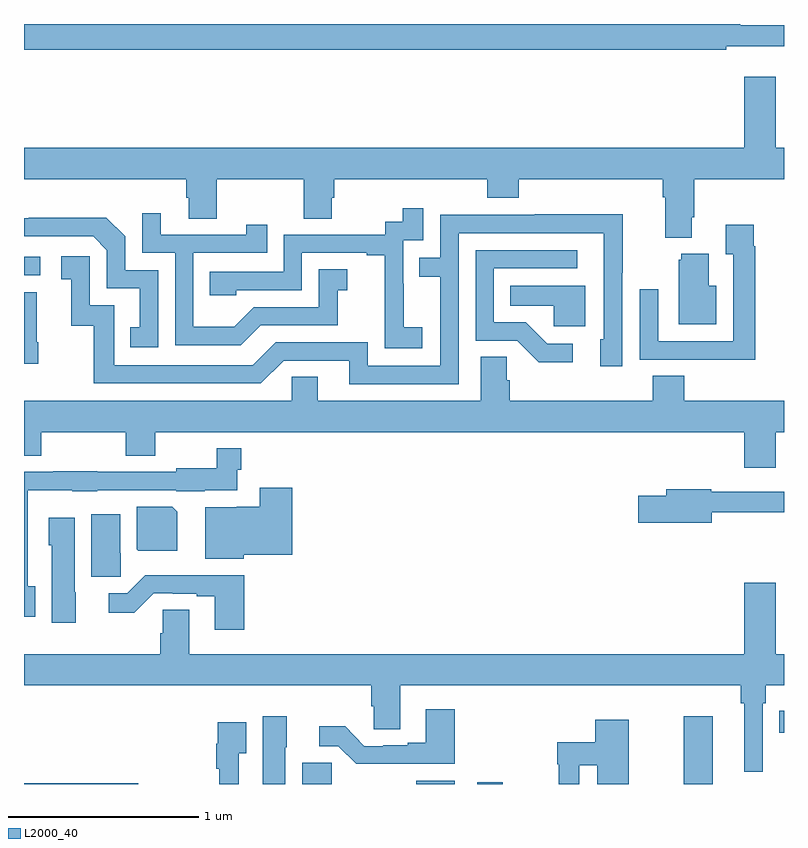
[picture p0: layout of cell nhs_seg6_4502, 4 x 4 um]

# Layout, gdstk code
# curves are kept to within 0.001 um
import gdstk
lib = gdstk.Library(unit=1e-6, precision=1e-09)
def R(c, l, rs):  # rectangles x0, y0, x1, y1
    for r in rs: c.add(gdstk.rectangle(r[:2], r[2:], *l))
def P(c, l, *ps):  # polygons
    for p in ps: c.add(gdstk.Polygon(p, *l))
L2000_40 = (2000, 40)

nhs_seg6_4502 = lib.new_cell('nhs_seg6_4502')
R(nhs_seg6_4502, L2000_40, [(377,929.5,377.6,929.504), (378.464,929.5,378.62,929.613), (379.064,929.5,379.266,929.518), (379.386,929.5,379.519,929.51), (380.473,929.5,380.626,929.857), (380.974,929.77,381,929.886), (377,932.178,377.086,932.274)])
P(nhs_seg6_4502, L2000_40, [(380.696,933.383),(381,933.383),(381,933.493),(380.77,933.493),(380.77,933.5),(377,933.5),(377,933.364),(380.696,933.364)],
  [(380.515,932.482),(380.528,932.482),(380.528,932.684),(381,932.684),(381,932.848),(380.956,932.848),(380.956,933.223),(380.792,933.223),(380.792,932.848),(377,932.848),(377,932.684),(377.855,932.684),(377.855,932.586),(377.867,932.586),(377.867,932.476),(378.015,932.476),(378.015,932.684),(378.472,932.684),(378.472,932.476),(378.619,932.476),(378.619,932.586),(378.632,932.586),(378.632,932.684),(379.439,932.684),(379.439,932.585),(379.604,932.585),(379.604,932.684),(380.363,932.684),(380.363,932.588),(380.375,932.588),(380.375,932.375),(380.515,932.375)],
  [(379.096,931.903),(378.998,931.903),(378.998,932.132),(378.996,932.132),(378.996,932.361),(379.101,932.361),(379.101,932.53),(378.993,932.53),(378.993,932.46),(378.9,932.46),(378.9,932.391),(378.366,932.391),(378.366,932.196),(377.977,932.196),(377.977,932.073),(378.117,932.073),(378.117,932.1),(378.462,932.1),(378.462,932.295),(378.803,932.295),(378.803,932.283),(378.899,932.283),(378.899,931.999),(378.898,931.999),(378.898,931.793),(379.096,931.793)],
  [(378.247,931.914),(378.651,931.914),(378.651,932.099),(378.7,932.099),(378.7,932.209),(378.552,932.209),(378.552,932.01),(378.21,932.01),(378.106,931.906),(377.892,931.906),(377.892,932.295),(378.281,932.295),(378.281,932.443),(378.17,932.443),(378.17,932.391),(377.719,932.391),(377.719,932.503),(377.622,932.503),(377.622,932.295),(377.796,932.295),(377.796,931.809),(378.142,931.809)],
  [(379.287,932.4),(380.051,932.4),(380.052,931.842),(380.033,931.842),(380.033,931.698),(380.148,931.698),(380.148,932.191),(380.151,932.191),(380.151,932.498),(379.687,932.498),(379.687,932.496),(379.191,932.496),(379.191,932.271),(379.081,932.271),(379.081,932.17),(379.191,932.17),(379.191,931.701),(378.81,931.701),(378.81,931.824),(378.324,931.824),(378.204,931.704),(377.475,931.704),(377.475,932.019),(377.346,932.019),(377.346,932.278),(377.196,932.278),(377.196,932.157),(377.249,932.157),(377.249,931.911),(377.367,931.911),(377.367,931.608),(378.246,931.608),(378.366,931.728),(378.713,931.728),(378.713,931.605),(379.287,931.605)],
  [(377.706,932.205),(377.532,932.205),(377.532,932.382),(377.434,932.48),(377.026,932.48),(377.026,932.478),(377,932.478),(377,932.382),(377.364,932.382),(377.436,932.31),(377.436,932.109),(377.609,932.109),(377.609,931.905),(377.56,931.905),(377.56,931.8),(377.706,931.8)],
  [(380.849,932.33),(380.842,932.33),(380.842,932.443),(380.693,932.443),(380.693,932.287),(380.733,932.287),(380.733,931.83),(380.337,931.83),(380.337,932.104),(380.241,932.104),(380.241,931.734),(380.557,931.734),(380.557,931.733),(380.849,931.733)],
  [(379.888,931.818),(379.753,931.818),(379.642,931.929),(379.473,931.929),(379.473,932.214),(379.912,932.214),(379.912,932.31),(379.377,932.31),(379.377,931.833),(379.596,931.833),(379.709,931.721),(379.888,931.721)],
  [(380.644,932.122),(380.605,932.122),(380.605,932.29),(380.459,932.29),(380.459,932.259),(380.447,932.259),(380.447,931.919),(380.644,931.919)],
  [(379.954,932.122),(379.558,932.122),(379.558,932.018),(379.789,932.018),(379.789,931.91),(379.954,931.91)],
  [(377.076,931.825),(377.068,931.825),(377.068,932.089),(377,932.089),(377,931.713),(377.076,931.713)],
  [(380.956,931.352),(381,931.352),(381,931.516),(380.474,931.516),(380.474,931.649),(380.309,931.649),(380.309,931.516),(379.556,931.516),(379.556,931.625),(379.542,931.625),(379.542,931.748),(379.403,931.748),(379.403,931.516),(378.547,931.516),(378.547,931.643),(378.408,931.643),(378.408,931.516),(377,931.516),(377,931.228),(377.091,931.228),(377.091,931.352),(377.536,931.352),(377.536,931.228),(377.691,931.228),(377.691,931.352),(380.792,931.352),(380.792,931.164),(380.956,931.164)],
  [(377.059,930.542),(377.019,930.542),(377.019,931.046),(377.253,931.046),(377.253,931.04),(377.385,931.04),(377.385,931.047),(377.802,931.047),(377.802,931.04),(377.952,931.04),(377.952,931.046),(378.123,931.046),(378.123,931.154),(378.143,931.154),(378.143,931.267),(378.015,931.267),(378.015,931.162),(377.802,931.162),(377.802,931.143),(377.385,931.143),(377.385,931.145),(377.153,931.145),(377.153,931.143),(377,931.143),(377,930.381),(377.059,930.381)],
  [(378.156,930.707),(378.413,930.707),(378.413,931.06),(378.242,931.06),(378.242,930.958),(378.12,930.958),(378.12,930.956),(377.954,930.956),(377.954,930.686),(378.156,930.686)],
  [(380.62,930.93),(381,930.93),(381,931.038),(380.616,931.038),(380.616,931.051),(380.381,931.051),(380.381,931.017),(380.232,931.017),(380.232,930.875),(380.62,930.875)],
  [(377.806,930.932),(377.78,930.958),(377.594,930.958),(377.594,930.736),(377.602,930.728),(377.806,930.728)],
  [(377.51,930.714),(377.506,930.714),(377.506,930.919),(377.354,930.919),(377.354,930.591),(377.51,930.591)],
  [(377.272,930.51),(377.266,930.51),(377.266,930.901),(377.129,930.901),(377.129,930.756),(377.147,930.756),(377.147,930.348),(377.272,930.348)],
  [(378.158,930.599),(377.639,930.599),(377.544,930.504),(377.445,930.504),(377.445,930.402),(377.58,930.402),(377.682,930.504),(377.782,930.504),(377.782,930.501),(377.909,930.501),(377.909,930.489),(378.005,930.489),(378.005,930.312),(378.158,930.312)],
  [(378.827,929.91),(378.84,929.91),(378.84,929.788),(378.979,929.788),(378.979,930.02),(380.773,930.02),(380.773,929.924),(380.792,929.924),(380.792,929.565),(380.889,929.565),(380.889,929.924),(380.903,929.924),(380.903,930.02),(381,930.02),(381,930.184),(380.956,930.184),(380.956,930.559),(380.792,930.559),(380.792,930.184),(377.869,930.184),(377.869,930.416),(377.73,930.416),(377.73,930.294),(377.717,930.294),(377.717,930.184),(377,930.184),(377,930.02),(378.827,930.02)],
  [(379.268,929.893),(379.115,929.893),(379.115,929.716),(379.019,929.716),(379.019,929.703),(378.892,929.703),(378.892,929.7),(378.792,929.7),(378.69,929.803),(378.555,929.803),(378.555,929.7),(378.654,929.7),(378.749,929.606),(379.268,929.606)],
  [(378.376,929.694),(378.382,929.694),(378.382,929.857),(378.257,929.857),(378.257,929.5),(378.376,929.5)],
  [(379.923,929.598),(380.018,929.598),(380.018,929.5),(380.184,929.5),(380.184,929.839),(380.006,929.839),(380.006,929.719),(379.807,929.719),(379.807,929.603),(379.815,929.603),(379.815,929.5),(379.923,929.5)],
  [(378.129,929.663),(378.169,929.663),(378.169,929.824),(378.021,929.824),(378.021,929.711),(378.013,929.711),(378.013,929.579),(378.028,929.579),(378.028,929.5),(378.129,929.5)])

lib.write_gds('nhs_seg6_4502.gds')
